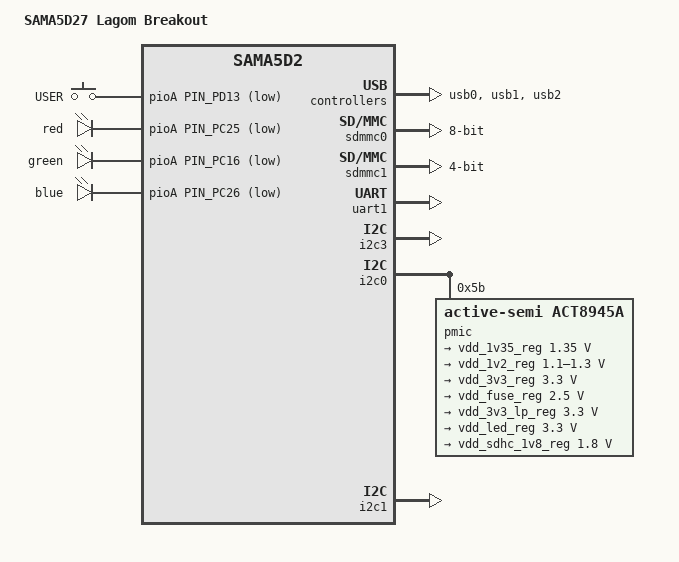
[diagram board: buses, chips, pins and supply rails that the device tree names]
/*
 * at91-sama5d27_lagom_breakout.dts - Device Tree file for Lagom Breakout board
 *
 *  Copyright (c) 2017, Microchip Technology Inc.
 *                2016 Nicolas Ferre <nicolas.ferre@atmel.com>
 *                2017 Cristian Birsan <cristian.birsan@microchip.com>
 *                2017 Claudiu Beznea <claudiu.beznea@microchip.com>
 *                2018 Artur Pacholec <arturo182@tlen.pl>
 *
 * This file is dual-licensed: you can use it either under the terms
 * of the GPL or the X11 license, at your option. Note that this dual
 * licensing only applies to this file, and not this project as a
 * whole.
 *
 *  a) This file is free software; you can redistribute it and/or
 *     modify it under the terms of the GNU General Public License as
 *     published by the Free Software Foundation; either version 2 of the
 *     License, or (at your option) any later version.
 *
 *     This file is distributed in the hope that it will be useful,
 *     but WITHOUT ANY WARRANTY; without even the implied warranty of
 *     MERCHANTABILITY or FITNESS FOR A PARTICULAR PURPOSE.  See the
 *     GNU General Public License for more details.
 *
 * Or, alternatively,
 *
 *  b) Permission is hereby granted, free of charge, to any person
 *     obtaining a copy of this software and associated documentation
 *     files (the "Software"), to deal in the Software without
 *     restriction, including without limitation the rights to use,
 *     copy, modify, merge, publish, distribute, sublicense, and/or
 *     sell copies of the Software, and to permit persons to whom the
 *     Software is furnished to do so, subject to the following
 *     conditions:
 *
 *     The above copyright notice and this permission notice shall be
 *     included in all copies or substantial portions of the Software.
 *
 *     THE SOFTWARE IS PROVIDED "AS IS", WITHOUT WARRANTY OF ANY KIND,
 *     EXPRESS OR IMPLIED, INCLUDING BUT NOT LIMITED TO THE WARRANTIES
 *     OF MERCHANTABILITY, FITNESS FOR A PARTICULAR PURPOSE AND
 *     NONINFRINGEMENT. IN NO EVENT SHALL THE AUTHORS OR COPYRIGHT
 *     HOLDERS BE LIABLE FOR ANY CLAIM, DAMAGES OR OTHER LIABILITY,
 *     WHETHER IN AN ACTION OF CONTRACT, TORT OR OTHERWISE, ARISING
 *     FROM, OUT OF OR IN CONNECTION WITH THE SOFTWARE OR THE USE OR
 *     OTHER DEALINGS IN THE SOFTWARE.
 */
/dts-v1/;
#include "sama5d2.dtsi"
#include "sama5d2-pinfunc.h"
#include <dt-bindings/mfd/atmel-flexcom.h>
#include <dt-bindings/gpio/gpio.h>

/ {
	model = "SAMA5D27 Lagom Breakout";
	compatible = "arturo182,sama5d27-lagom-breakout", "atmel,sama5d27", "atmel,sama5d2", "atmel,sama5";

	clocks {
		slow_xtal {
			clock-frequency = <32768>;
		};

		main_xtal {
			clock-frequency = <24000000>;
		};
	};

	aliases {
		serial0 = &uart1;
		i2c0	= &i2c0;	/* PMIC */
		i2c1	= &i2c1;	/* LCD */
		i2c3	= &i2c3;	/* Flexcom 4 */
	};

	chosen {
		stdout-path = "serial0:115200n8";
	};

	ahb {
		usb0: gadget@300000 {
			atmel,vbus-gpio = <&pioA PIN_PD20 GPIO_ACTIVE_HIGH>;
			pinctrl-names = "default";
			pinctrl-0 = <&pinctrl_usba_vbus>;
			status = "okay";
		};

		usb1: ohci@400000 {
			num-ports = <3>;
			atmel,vbus-gpio = <0 /* &pioA PIN_PD20 GPIO_ACTIVE_HIGH */
					   &pioA PIN_PD15 GPIO_ACTIVE_HIGH
					   0
					  >;
			pinctrl-names = "default";
			pinctrl-0 = <&pinctrl_usb_default>;
			status = "okay";
		};

		usb2: ehci@500000 {
			status = "okay";
		};

		sdmmc0: sdio-host@a0000000 {
			bus-width = <8>;
			pinctrl-names = "default";
			pinctrl-0 = <&pinctrl_sdmmc0_default>;
			status = "okay";
		};

		sdmmc1: sdio-host@b0000000 {
			bus-width = <4>;
			pinctrl-names = "default";
			pinctrl-0 = <&pinctrl_sdmmc1_default>;
			status = "okay";
		};

		apb {
			tcb0: timer@f800c000 {
				timer0: timer@0 {
					compatible = "atmel,tcb-timer";
					reg = <0>;
				};

				timer1: timer@1 {
					compatible = "atmel,tcb-timer";
					reg = <1>;
				};
			};

			uart1: serial@f8020000 {
				pinctrl-names = "default";
				pinctrl-0 = <&pinctrl_uart1_default>;
				atmel,use-dma-rx;
				atmel,use-dma-tx;
				status = "okay";
			};

			shdwc@f8048010 {
				atmel,shdwc-debouncer = <976>;
				atmel,wakeup-rtc-timer;

				input@0 {
					reg = <0>;
					atmel,wakeup-type = "low";
				};
			};

			watchdog@f8048040 {
				status = "okay";
			};

			flx3: flexcom@fc014000 {
				atmel,flexcom-mode = <ATMEL_FLEXCOM_MODE_SPI>;
				status = "okay";

				uart7: serial@200 {
					compatible = "atmel,at91sam9260-usart";
					reg = <0x200 0x200>;
					interrupts = <22 IRQ_TYPE_LEVEL_HIGH 7>;
					clocks = <&flx3_clk>;
					clock-names = "usart";
					pinctrl-names = "default";
					pinctrl-0 = <&pinctrl_flx3_default>;
					atmel,fifo-size = <32>;
					status = "disabled";
				};

				spi2: spi@400 {
					compatible = "atmel,at91rm9200-spi";
					reg = <0x400 0x200>;
					interrupts = <22 IRQ_TYPE_LEVEL_HIGH 7>;
					clocks = <&flx3_clk>;
					clock-names = "spi_clk";
					pinctrl-names = "default";
					pinctrl-0 = <&pinctrl_flx3_default>;
					atmel,fifo-size = <16>;
					status = "disabled";
				};

				i2c2: i2c@600 {
					compatible = "atmel,sama5d2-i2c";
					reg = <0x600 0x200>;
					interrupts = <22 IRQ_TYPE_LEVEL_HIGH 7>;
					dmas = <0>, <0>;
					dma-names = "tx", "rx";
					#address-cells = <1>;
					#size-cells = <0>;
					clocks = <&flx3_clk>;
					pinctrl-names = "default";
					pinctrl-0 = <&pinctrl_flx3_default>;
					atmel,fifo-size = <16>;
					status = "disabled";
				};
			};

			flx4: flexcom@fc018000 {
				atmel,flexcom-mode = <ATMEL_FLEXCOM_MODE_TWI>;
				status = "okay";

				uart6: serial@200 {
					compatible = "atmel,at91sam9260-usart";
					reg = <0x200 0x200>;
					interrupts = <23 IRQ_TYPE_LEVEL_HIGH 7>;
					clocks = <&flx4_clk>;
					clock-names = "usart";
					pinctrl-names = "default";
					pinctrl-0 = <&pinctrl_flx4_default>;
					atmel,fifo-size = <32>;
					status = "disabled";
				};

				spi3: spi@400 {
					compatible = "atmel,at91rm9200-spi";
					reg = <0x400 0x200>;
					interrupts = <23 IRQ_TYPE_LEVEL_HIGH 7>;
					clocks = <&flx4_clk>;
					clock-names = "spi_clk";
					pinctrl-names = "default";
					pinctrl-0 = <&pinctrl_flx4_default>;
					atmel,fifo-size = <16>;
					status = "disabled";
				};

				i2c3: i2c@600 {
					compatible = "atmel,sama5d2-i2c";
					reg = <0x600 0x200>;
					interrupts = <23 IRQ_TYPE_LEVEL_HIGH 7>;
					dmas = <0>, <0>;
					dma-names = "tx", "rx";
					#address-cells = <1>;
					#size-cells = <0>;
					clocks = <&flx4_clk>;
					pinctrl-names = "default";
					pinctrl-0 = <&pinctrl_flx4_default>;
					atmel,fifo-size = <16>;
					status = "okay";
				};
			};

			i2c0: i2c@f8028000 {
				dmas = <0>, <0>;
				pinctrl-names = "default";
				pinctrl-0 = <&pinctrl_i2c0_default>;
				i2c-sda-hold-time-ns = <350>;
				status = "okay";

				pmic@5b {
					compatible = "active-semi,act8945a";
					reg = <0x5b>;
					active-semi,vsel-high;
					status = "okay";

					regulators {
						vdd_1v35_reg: REG_DCDC1 {
							regulator-name = "VDD_1V35";
							regulator-min-microvolt = <1350000>;
							regulator-max-microvolt = <1350000>;
							regulator-always-on;
						};

						vdd_1v2_reg: REG_DCDC2 {
							regulator-name = "VDD_1V2";
							regulator-min-microvolt = <1100000>;
							regulator-max-microvolt = <1300000>;
							regulator-always-on;
						};

						vdd_3v3_reg: REG_DCDC3 {
							regulator-name = "VDD_3V3";
							regulator-min-microvolt = <3300000>;
							regulator-max-microvolt = <3300000>;
							regulator-always-on;
						};

						vdd_fuse_reg: REG_LDO1 {
							regulator-name = "VDD_FUSE";
							regulator-min-microvolt = <2500000>;
							regulator-max-microvolt = <2500000>;
							regulator-always-on;
						};

						vdd_3v3_lp_reg: REG_LDO2 {
							regulator-name = "VDD_3V3_LP";
							regulator-min-microvolt = <3300000>;
							regulator-max-microvolt = <3300000>;
							regulator-always-on;
						};

						vdd_led_reg: REG_LDO3 {
							regulator-name = "VDD_LED";
							regulator-min-microvolt = <3300000>;
							regulator-max-microvolt = <3300000>;
							regulator-always-on;
						};

						vdd_sdhc_1v8_reg: REG_LDO4 {
							regulator-name = "VDD_SDHC_1V8";
							regulator-min-microvolt = <1800000>;
							regulator-max-microvolt = <1800000>;
							regulator-always-on;
						};
					};

					charger {
						compatible = "active-semi,act8945a-charger";
						pinctrl-names = "default";
						pinctrl-0 = <&pinctrl_charger_chglev &pinctrl_charger_lbo &pinctrl_charger_irq>;
						interrupt-parent = <&pioA>;
						interrupts = <PIN_PC10 IRQ_TYPE_EDGE_RISING>;

						active-semi,chglev-gpios = <&pioA PIN_PD16 GPIO_ACTIVE_HIGH>;
						active-semi,lbo-gpios = <&pioA PIN_PD6 GPIO_ACTIVE_LOW>;
						active-semi,input-voltage-threshold-microvolt = <6600>;
						active-semi,precondition-timeout = <40>;
						active-semi,total-timeout = <3>;
						status = "okay";
					};
				};
			};

			i2c1: i2c@fc028000 {
				dmas = <0>, <0>;
				pinctrl-names = "default";
				pinctrl-0 = <&pinctrl_i2c1_default>;
				status = "okay";
			};

			classd: classd@fc048000 {
				pinctrl-names = "default";
				pinctrl-0 = <&pinctrl_classd_default>;
				atmel,pwm-type = "diff";
				atmel,non-overlap-time = <10>;
				status = "okay";
			};

			pinctrl@fc038000 {
				pinctrl_usb_default: usb_default {
					pinmux = <PIN_PD15__GPIO>,
						 <PIN_PD19__GPIO>;
					bias-disable;
				};

				pinctrl_usba_vbus: usba_vbus {
					pinmux = <PIN_PD20__GPIO>;
					bias-disable;
				};

				pinctrl_sdmmc0_default: sdmmc0_default {
					cmd_data {
						pinmux = <PIN_PA1__SDMMC0_CMD>,
							 <PIN_PA2__SDMMC0_DAT0>,
							 <PIN_PA3__SDMMC0_DAT1>,
							 <PIN_PA4__SDMMC0_DAT2>,
							 <PIN_PA5__SDMMC0_DAT3>,
							 <PIN_PA6__SDMMC0_DAT4>,
							 <PIN_PA7__SDMMC0_DAT5>,
							 <PIN_PA8__SDMMC0_DAT6>,
							 <PIN_PA9__SDMMC0_DAT7>;
						bias-disable;
					};

					ck_cd_vddsel {
						pinmux = <PIN_PA0__SDMMC0_CK>,
							 <PIN_PA11__SDMMC0_VDDSEL>,
							 <PIN_PA13__SDMMC0_CD>;
						bias-disable;
					};
				};

				pinctrl_sdmmc1_default: sdmmc1_default {
					cmd_data {
						pinmux = <PIN_PA28__SDMMC1_CMD>,
							 <PIN_PA18__SDMMC1_DAT0>,
							 <PIN_PA19__SDMMC1_DAT1>,
							 <PIN_PA20__SDMMC1_DAT2>,
							 <PIN_PA21__SDMMC1_DAT3>;
						bias-disable;
					};

					conf-ck_cd {
						pinmux = <PIN_PA22__SDMMC1_CK>,
							 <PIN_PA30__SDMMC1_CD>;
						bias-disable;
					};
				};

				pinctrl_flx3_default: flx3_default {
					pinmux = <PIN_PC20__FLEXCOM3_IO0>,
						 <PIN_PC19__FLEXCOM3_IO1>,
						 <PIN_PC18__FLEXCOM3_IO2>,
						 <PIN_PC21__FLEXCOM3_IO3>,
						 <PIN_PC22__FLEXCOM3_IO4>;
					bias-disable;
				};

				pinctrl_flx4_default: flx4_uart_default {
					pinmux = <PIN_PC28__FLEXCOM4_IO0>,
						 <PIN_PC29__FLEXCOM4_IO1>,
						 <PIN_PC30__FLEXCOM4_IO2>,
						 <PIN_PC31__FLEXCOM4_IO3>,
						 <PIN_PD0__FLEXCOM4_IO4>;
					bias-disable;
				};

				pinctrl_i2c0_default: i2c0_default {
					pinmux = <PIN_PD21__TWD0>,
						 <PIN_PD22__TWCK0>;
					bias-disable;
				};

				pinctrl_i2c1_default: i2c1_default {
					pinmux = <PIN_PD4__TWD1>,
						 <PIN_PD5__TWCK1>;
					bias-disable;
				};

				pinctrl_uart1_default: uart1_default {
					pinmux = <PIN_PD2__URXD1>,
						 <PIN_PD3__UTXD1>;
					bias-disable;
				};

				pinctrl_charger_chglev: charger_chglev {
					pinmux = <PIN_PD16__GPIO>;
					bias-disable;
				};

				pinctrl_charger_irq: charger_irq {
					pinmux = <PIN_PC10__GPIO>;
					bias-disable;
				};

				pinctrl_charger_lbo: charger_lbo {
					pinmux = <PIN_PD6__GPIO>;
					bias-pull-up;
				};

				pinctrl_classd_default: classd_default {
					pinmux = <PIN_PB1__CLASSD_R0>,
						 <PIN_PB2__CLASSD_R1>,
						 <PIN_PB3__CLASSD_R2>,
						 <PIN_PB4__CLASSD_R3>;
					bias-pull-up;
				};

				pinctrl_key_gpio_default: key_gpio_default {
					pinmux = <PIN_PD13__GPIO>;
					bias-pull-up;
				};

				pinctrl_led_gpio_default: led_gpio_default {
					pinmux = <PIN_PC25__GPIO>,
						 <PIN_PC16__GPIO>,
						 <PIN_PC26__GPIO>;
					bias-pull-up;
				};
			};
		};
	};

	gpio_keys {
		compatible = "gpio-keys";

		pinctrl-names = "default";
		pinctrl-0 = <&pinctrl_key_gpio_default>;

		pb4 {
			label = "USER";
			gpios = <&pioA PIN_PD13 GPIO_ACTIVE_LOW>;
			linux,code = <0x104>;
			wakeup-source;
		};
	};

	leds {
		compatible = "gpio-leds";
		pinctrl-names = "default";
		pinctrl-0 = <&pinctrl_led_gpio_default>;
		status = "okay";

		red {
			label = "red";
			gpios = <&pioA PIN_PC25 GPIO_ACTIVE_LOW>;
		};

		green {
			label = "green";
			gpios = <&pioA PIN_PC16 GPIO_ACTIVE_LOW>;
		};

		blue {
			label = "blue";
			gpios = <&pioA PIN_PC26 GPIO_ACTIVE_LOW>;
			linux,default-trigger = "heartbeat";
		};
	};
};
